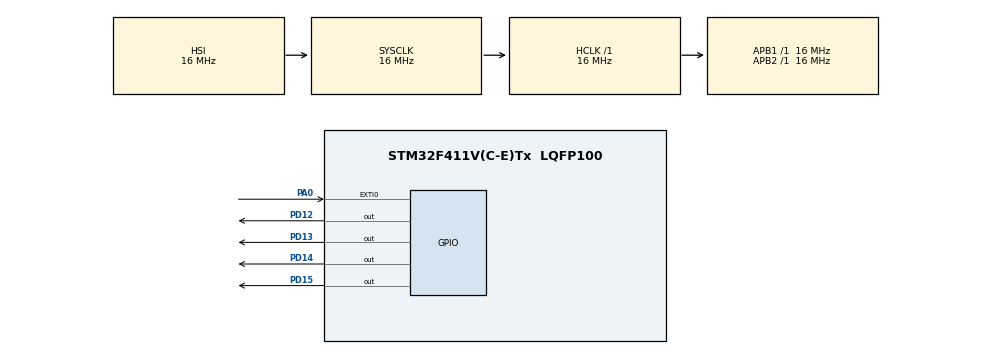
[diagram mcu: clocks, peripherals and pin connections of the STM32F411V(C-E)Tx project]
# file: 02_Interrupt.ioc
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Mcu.Family=STM32F4
Mcu.Name=STM32F411V(C-E)Tx
Mcu.Package=LQFP100
NVIC.EXTI0_IRQn=true\:0\:0\:false\:false\:true\:true\:true\:true
NVIC.PriorityGroup=NVIC_PRIORITYGROUP_4
PA0-WKUP.Signal=GPXTI0
PD12.Signal=GPIO_Output
PD13.Signal=GPIO_Output
PD14.Signal=GPIO_Output
PD15.Signal=GPIO_Output
ProjectManager.HeapSize=0x200
ProjectManager.StackSize=0x400
ProjectManager.TargetToolchain=STM32CubeIDE
RCC.AHBFreq_Value=16000000
RCC.APB1Freq_Value=16000000
RCC.APB2Freq_Value=16000000
RCC.CortexFreq_Value=16000000
RCC.HSE_VALUE=25000000
RCC.HSI_VALUE=16000000
RCC.LSE_VALUE=32768
RCC.SYSCLKFreq_VALUE=16000000
RCC.VCOOutputFreq_Value=192000000
board=custom

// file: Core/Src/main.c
/* USER CODE BEGIN Header */
/**
  ******************************************************************************
  * @file           : main.c
  * @brief          : Main program body
  ******************************************************************************
  * @attention
  *
  * Copyright (c) 2022 STMicroelectronics.
  * All rights reserved.
  *
  * This software is licensed under terms that can be found in the LICENSE file
  * in the root directory of this software component.
  * If no LICENSE file comes with this software, it is provided AS-IS.
  *
  ******************************************************************************
  */
#include <stdbool.h>
/* USER CODE END Header */
#include "main.h"

void SystemClock_Config(void);
static void MX_GPIO_Init(void);

/* USER CODE BEGIN 0 */

//volatile static bool button = false;
static int counter = 0;
static uint16_t gpio_pin_array[4] = {GPIO_PIN_12,
									 GPIO_PIN_13,
									 GPIO_PIN_14,
									 GPIO_PIN_15};

void blink_leds(void) {
	  for (int i = 0; i < 4; i++) {
		  HAL_Delay(1000 - (counter*100));
		  HAL_GPIO_WritePin(GPIOD, gpio_pin_array[i], GPIO_PIN_SET);
		  HAL_Delay(1000 - (counter*100));
		  HAL_GPIO_WritePin(GPIOD, gpio_pin_array[i], GPIO_PIN_RESET);
	  }
}

/* USER CODE END 0 */

int main(void)
{

  /* MCU Configuration--------------------------------------------------------*/

  /* Reset of all peripherals, Initializes the Flash interface and the Systick. */
  HAL_Init();

  /* Configure the system clock */
  SystemClock_Config();

  /* Initialize all configured peripherals */
  MX_GPIO_Init();

  /* Infinite loop */
  /* USER CODE BEGIN WHILE */
  while (1)
  {
	  blink_leds();
    /* USER CODE END WHILE */
  }
}

void SystemClock_Config(void)
{
  RCC_OscInitTypeDef RCC_OscInitStruct = {0};
  RCC_ClkInitTypeDef RCC_ClkInitStruct = {0};

  /** Configure the main internal regulator output voltage
  */
  __HAL_RCC_PWR_CLK_ENABLE();
  __HAL_PWR_VOLTAGESCALING_CONFIG(PWR_REGULATOR_VOLTAGE_SCALE1);

  /** Initializes the RCC Oscillators according to the specified parameters
  * in the RCC_OscInitTypeDef structure.
  */
  RCC_OscInitStruct.OscillatorType = RCC_OSCILLATORTYPE_HSI;
  RCC_OscInitStruct.HSIState = RCC_HSI_ON;
  RCC_OscInitStruct.HSICalibrationValue = RCC_HSICALIBRATION_DEFAULT;
  RCC_OscInitStruct.PLL.PLLState = RCC_PLL_NONE;
  if (HAL_RCC_OscConfig(&RCC_OscInitStruct) != HAL_OK)
  {
    Error_Handler();
  }

  /** Initializes the CPU, AHB and APB buses clocks
  */
  RCC_ClkInitStruct.ClockType = RCC_CLOCKTYPE_HCLK|RCC_CLOCKTYPE_SYSCLK
                              |RCC_CLOCKTYPE_PCLK1|RCC_CLOCKTYPE_PCLK2;
  RCC_ClkInitStruct.SYSCLKSource = RCC_SYSCLKSOURCE_HSI;
  RCC_ClkInitStruct.AHBCLKDivider = RCC_SYSCLK_DIV1;
  RCC_ClkInitStruct.APB1CLKDivider = RCC_HCLK_DIV1;
  RCC_ClkInitStruct.APB2CLKDivider = RCC_HCLK_DIV1;

  if (HAL_RCC_ClockConfig(&RCC_ClkInitStruct, FLASH_LATENCY_0) != HAL_OK)
  {
    Error_Handler();
  }
}

static void MX_GPIO_Init(void)
{
  GPIO_InitTypeDef GPIO_InitStruct = {0};

  /* GPIO Ports Clock Enable */
  __HAL_RCC_GPIOA_CLK_ENABLE();
  __HAL_RCC_GPIOD_CLK_ENABLE();

  /*Configure GPIO pin Output Level */
  HAL_GPIO_WritePin(GPIOD, GPIO_PIN_12|GPIO_PIN_13|GPIO_PIN_14|GPIO_PIN_15, GPIO_PIN_RESET);

  /*Configure GPIO pin : PA0 */
  GPIO_InitStruct.Pin = GPIO_PIN_0;
  GPIO_InitStruct.Mode = GPIO_MODE_IT_RISING;
  GPIO_InitStruct.Pull = GPIO_NOPULL;
  HAL_GPIO_Init(GPIOA, &GPIO_InitStruct);

  /*Configure GPIO pins : PD12 PD13 PD14 PD15 */
  GPIO_InitStruct.Pin = GPIO_PIN_12|GPIO_PIN_13|GPIO_PIN_14|GPIO_PIN_15;
  GPIO_InitStruct.Mode = GPIO_MODE_OUTPUT_PP;
  GPIO_InitStruct.Pull = GPIO_NOPULL;
  GPIO_InitStruct.Speed = GPIO_SPEED_FREQ_LOW;
  HAL_GPIO_Init(GPIOD, &GPIO_InitStruct);

  /* EXTI interrupt init*/
  HAL_NVIC_SetPriority(EXTI0_IRQn, 0, 0);
  HAL_NVIC_EnableIRQ(EXTI0_IRQn);

}

/* USER CODE BEGIN 4 */

void HAL_GPIO_EXTI_Callback(uint16_t GPIO_Pin)
{
  /* Prevent unused argument(s) compilation warning */
  UNUSED(GPIO_Pin);
  /* NOTE: This function Should not be modified, when the callback is needed,
           the HAL_GPIO_EXTI_Callback could be implemented in the user file
   */
  counter += 1;
  if (counter == 10) {
	  counter = 0;
  }
  for(uint32_t i = 0; i<10000; i++);; //delay for debouncing
}

/* USER CODE END 4 */

void Error_Handler(void)
{
  __disable_irq();
  while (1)
  {
  }
}
